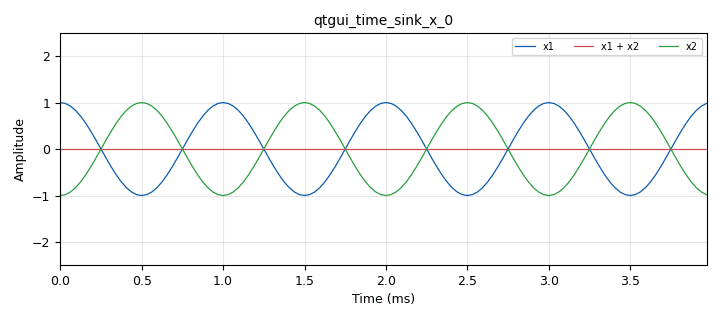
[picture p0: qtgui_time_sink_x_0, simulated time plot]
options:
  parameters:
    author: Dhrubjun
    generate_options: qt_gui
    id: chapter02
    output_language: python
    title: Phase Addition
  states: {}

blocks:
- name: pi
  id: variable
  parameters:
    value: '3.141592653589793'
  states: {}
- name: samp_rate
  id: variable
  parameters:
    value: '32000'
  states: {}
- name: analog_sig_source_x_0
  id: analog_sig_source_x
  parameters:
    amp: '1'
    freq: '1000'
    offset: '0'
    phase: '0'
    samp_rate: samp_rate
    type: float
    waveform: analog.GR_COS_WAVE
  states: {}
- name: analog_sig_source_x_0_0
  id: analog_sig_source_x
  parameters:
    amp: '1'
    freq: '1000'
    offset: '0'
    phase: pi
    samp_rate: samp_rate
    type: float
    waveform: analog.GR_COS_WAVE
  states: {}
- name: blocks_add_xx_0
  id: blocks_add_xx
  parameters:
    type: float
  states: {}
- name: blocks_throttle2_0
  id: blocks_throttle2
  parameters:
    samples_per_second: samp_rate
    type: float
  states: {}
- name: blocks_throttle2_0_1
  id: blocks_throttle2
  parameters:
    samples_per_second: samp_rate
    type: float
  states: {}
- name: qtgui_time_sink_x_0
  id: qtgui_time_sink_x
  parameters:
    color2: dark red
    grid: 'True'
    label1: 'x1 '
    label2: x1 + x2
    label3: x2
    nconnections: '3'
    size: '128'
    srate: samp_rate
    style1: '2'
    style3: '4'
    type: float
    ymax: '2.5'
    ymin: '-2.5'
  states: {}

connections:
- [analog_sig_source_x_0, '0', blocks_throttle2_0_1, '0']
- [analog_sig_source_x_0_0, '0', blocks_throttle2_0, '0']
- [blocks_add_xx_0, '0', qtgui_time_sink_x_0, '1']
- [blocks_throttle2_0, '0', blocks_add_xx_0, '1']
- [blocks_throttle2_0, '0', qtgui_time_sink_x_0, '2']
- [blocks_throttle2_0_1, '0', blocks_add_xx_0, '0']
- [blocks_throttle2_0_1, '0', qtgui_time_sink_x_0, '0']

metadata:
  file_format: 1
  grc_version: 3.10.12.0
